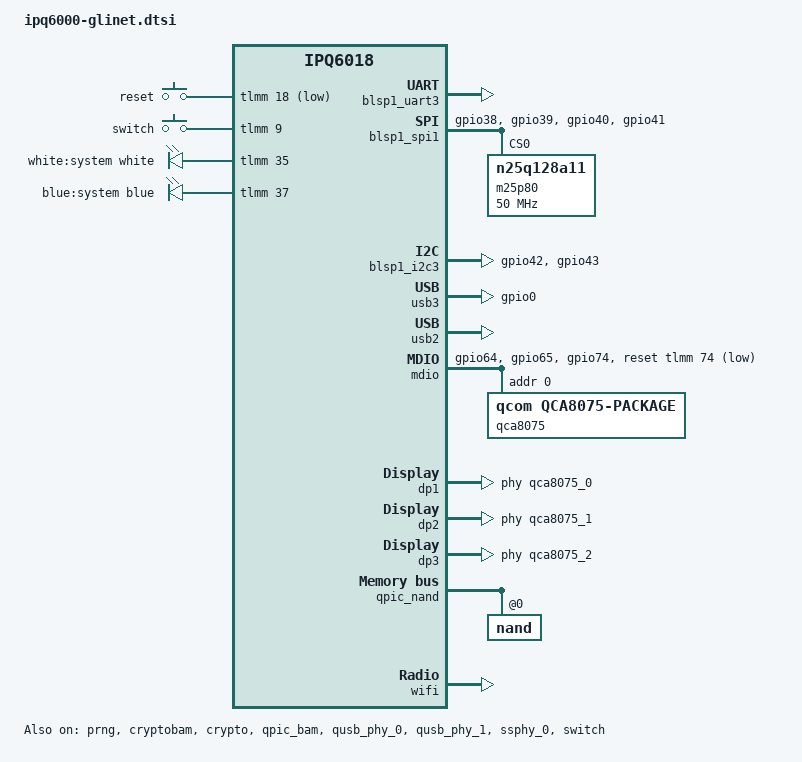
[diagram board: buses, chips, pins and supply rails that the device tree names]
// SPDX-License-Identifier: GPL-2.0-or-later OR MIT

#include "ipq6018.dtsi"
#include "ipq6018-ess.dtsi"

#include <dt-bindings/input/input.h>
#include <dt-bindings/gpio/gpio.h>
#include <dt-bindings/leds/common.h>

/ {
	aliases {
		ethernet0 = &dp1;
		ethernet1 = &dp2;
		ethernet2 = &dp3;
		label-mac-device = &dp1;
		serial0 = &blsp1_uart3;
		led-boot = &led_system_white;
		led-failsafe = &led_system_white;
		led-running = &led_system_white;
		led-upgrade = &led_system_white;
	};

	chosen {
		stdout-path = "serial0:115200n8";
		bootargs-append = " root=/dev/ubiblock0_1";
	};

	keys {
		compatible = "gpio-keys";

		reset {
			label = "reset";
			gpios = <&tlmm 18 GPIO_ACTIVE_LOW>;
			linux,code = <KEY_RESTART>;
		};

		switch {
			label = "switch";
			gpios = <&tlmm 9 GPIO_ACTIVE_HIGH>;
			linux,code = <KEY_WPS_BUTTON>;
		};
	};

	leds {
		compatible = "gpio-leds";

		led_system_white: system-white {
			label = "white:system";
			gpios = <&tlmm 35 GPIO_ACTIVE_HIGH>;
			color = <LED_COLOR_ID_WHITE>;
		};

		led_system_blue: system-blue {
			label = "blue:system";
			gpios = <&tlmm 37 GPIO_ACTIVE_HIGH>;
			color = <LED_COLOR_ID_BLUE>;
		};
	};
};

&tlmm {
	gpio-reserved-ranges = <20 1>;

	spi_1_pins: spi_1_pins {
		mux {
			pins = "gpio38", "gpio39", "gpio40", "gpio41";
			function = "blsp0_spi";
			drive-strength = <8>;
			bias-pull-down;
		};
	};

	button_pins: button_pins {
		switch_button {
			pins = "gpio9";
			function = "gpio";
			drive-strength = <8>;
			bias-pull-up;
		};
		reset_button {
			pins = "gpio18";
			function = "gpio";
			drive-strength = <8>;
			bias-pull-up;
		};
	};

	mdio_pins: mdio-pins {
		mdc {
			pins = "gpio64";
			function = "mdc";
			drive-strength = <8>;
			bias-pull-up;
		};

		mdio {
			pins = "gpio65";
			function = "mdio";
			drive-strength = <8>;
			bias-pull-up;
		};

		mux_2 {
			pins = "gpio74";
			function = "gpio";
			bias-pull-up;
		};
	};

	usb_power_pins: usb_power_pins {
		mux {
			pins = "gpio0";
			function = "gpio";
			bias-pull-up;
			output-high;
		};
	};

	leds_pins: leds_pins {
		white {
			pins = "gpio35";
			function = "gpio";
			drive-strength = <8>;
			bias-pull-down;
		};
		blue {
			pins = "gpio37";
			function = "gpio";
			drive-strength = <8>;
			bias-pull-down;
		};
	};

	i2c_1_pins: i2c_1_pins {
		mux {
			pins = "gpio42", "gpio43";
			function = "blsp2_i2c";
			drive-strength = <8>;
			bias-pull-down;
		};
	};
};

&blsp1_uart3 {
	pinctrl-0 = <&serial_3_pins>;
	pinctrl-names = "default";
	status = "okay";
};

&blsp1_spi1 {
	pinctrl-0 = <&spi_1_pins>;
	pinctrl-names = "default";
	cs-select = <0>;
	status = "okay";

	m25p80@0 {
		#address-cells = <1>;
		#size-cells = <1>;
		reg = <0>;
		compatible = "n25q128a11";
		linux,modalias = "m25p80", "n25q128a11";
		spi-max-frequency = <50000000>;
		use-default-sizes;
	};
};

&blsp1_i2c3 {
	pinctrl-0 = <&i2c_1_pins>;
	pinctrl-names = "default";
	status = "okay";
};

&prng {
	status = "okay";
};

&cryptobam {
	status = "okay";
};

&crypto {
	status = "okay";
};

&qpic_bam {
	status = "okay";
};

&qusb_phy_0 {
	status = "okay";
};

&qusb_phy_1 {
	status = "okay";
};

&ssphy_0 {
	status = "okay";
};

&usb3 {
	pinctrl-0 = <&usb_power_pins>;
	pinctrl-names = "default";
	status = "okay";
};

&usb2 {
	status = "okay";
};

&edma {
	status = "okay";
};

&rpm {
	status = "disabled";
};

&mdio {
	status = "okay";
	pinctrl-0 = <&mdio_pins>;
	pinctrl-names = "default";
	reset-gpios = <&tlmm 74 GPIO_ACTIVE_LOW>;

	qca8075: ethernet-phy-package@0 {
		compatible = "qcom,qca8075-package";
		#address-cells = <1>;
		#size-cells = <0>;
		reg = <0>;
		qcom,package-mode = "psgmii";

		qca8075_0: ethernet-phy@0 {
			compatible = "ethernet-phy-ieee802.3-c22";
			reg = <0>;
		};

		qca8075_1: ethernet-phy@1 {
			compatible = "ethernet-phy-ieee802.3-c22";
			reg = <1>;
		};

		qca8075_2: ethernet-phy@2 {
			compatible = "ethernet-phy-ieee802.3-c22";
			reg = <2>;
		};
	};
};

&switch {
	status = "okay";

	switch_lan_bmp = <(ESS_PORT2|ESS_PORT3)>; /* lan port bitmap */
	switch_wan_bmp = <ESS_PORT1>; /* wan port bitmap */

	qcom,port_phyinfo {
		port@0 {
			port_id = <1>;
			phy_address = <0>;
		};
		port@1 {
			port_id = <2>;
			phy_address = <1>;
		};
		port@2 {
			port_id = <3>;
			phy_address = <2>;
		};
	};
};

&dp1{
	phy-handle = <&qca8075_0>;
	status = "okay";
};

&dp2{
	phy-handle = <&qca8075_1>;
	status = "okay";
};

&dp3{
	phy-handle = <&qca8075_2>;
	status = "okay";
};

&qpic_bam {
	status = "okay";
};

&qpic_nand {
	status = "okay";

	nand@0 {
		reg = <0>;

		nand-ecc-strength = <4>;
		nand-ecc-step-size = <512>;
		nand-bus-width = <8>;

		partitions {
			compatible = "qcom,smem-part";
		};
	};
};

&wifi {
	status = "okay";
	qcom,ath11k-fw-memory-mode = <1>;
};

&CPU0 {
	/delete-property/ cpu-supply;
};

&CPU1 {
	/delete-property/ cpu-supply;
};

&CPU2 {
	/delete-property/ cpu-supply;
};

&CPU3 {
	/delete-property/ cpu-supply;
};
